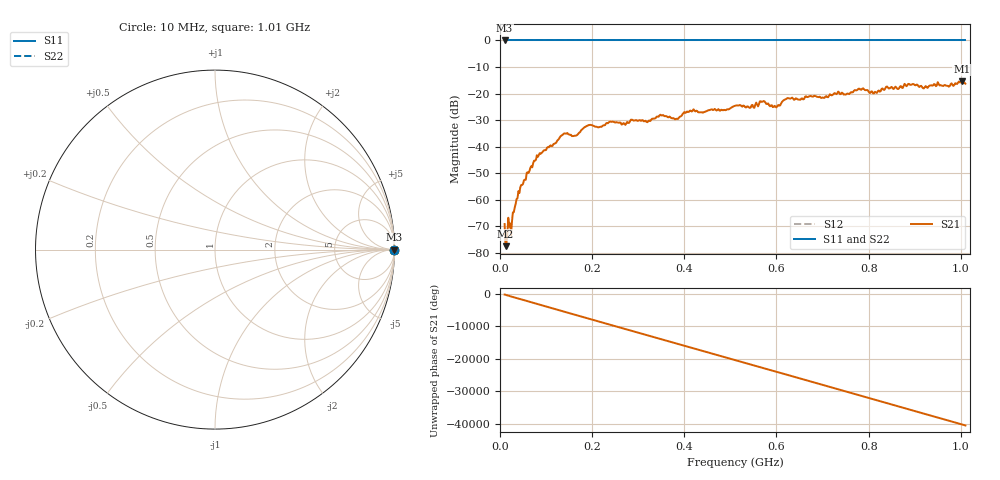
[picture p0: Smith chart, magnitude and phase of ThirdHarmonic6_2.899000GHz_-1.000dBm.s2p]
! 8/17/2025 8:00:23 AM
! C:\ANRITSUVNA\TEMP\TEMP.S2P
! CHANNEL.1
! TR.MEASUREMENT
! RAW.DATA
! RF.CORRECTION.OFF
! AVERAGING.OFF
! IF.BANDWIDTH: 5KHZ
! SWEEPTYPE:  FREQ.SWEEP(Linear)
! Reference Plane Port Info
! PORT:  PORT1  PORT2
! DISTANCE:  0  m  0  m
! TIME:  0  s  0  s
! PHASE.OFFSET:  0  deg.  0  deg.
! LOSS:  0  dB  0  dB
! REF.LOSS:  0  dB  0  dB
! REF.FREQ:  0  Hz  0  Hz
! Power Info
! POWER:  -20  dBm  -20  dBm
! EFF.POWER:  -20  dBm  -20  dBm
! SOURCE.ATTEN:  0  dB  0  dB
! TEST.ATTEN:  0  dB  0  dB
# GHZ S RI R 50.0
! FREQ.GHZ  S11RE  S11IM  S21RE  S21IM  S12RE  S12IM  S22RE  S22IM
!; PortSelection: Port_12
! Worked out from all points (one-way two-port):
!   501 points, 10 MHz to 1.01 GHz, reference 50 ohm
!   highest |S21| = -15.43 dB at 1.002 GHz (marker M1); lowest = -77.5 dB at 12 MHz (marker M2)
!   lowest |S11| = 0.0 dB at 10 MHz (marker M3)
!   |S11| at or under -10 dB: nowhere
!   |S22| runs from 0.0 to 0.0 dB; largest |S21 - S12| = 1.2
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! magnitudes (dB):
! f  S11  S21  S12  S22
! 10 MHz  0.0  -69.1  0.0  0.0
! 12 MHz  0.0  -77.5  0.0  0.0
! 24 MHz  0.0  -73.3  0.0  0.0
! 44 MHz  0.0  -55.3  0.0  0.0
! 82 MHz  0.0  -43.8  0.0  0.0
! 136 MHz  0.0  -35.5  0.0  0.0
! 162 MHz  0.0  -35.9  0.0  0.0
! 178 MHz  0.0  -33.5  0.0  0.0
! 344 MHz  0.0  -28.7  0.0  0.0
! 382 MHz  0.0  -29.6  0.0  0.0
! 416 MHz  0.0  -26.8  0.0  0.0
! 510 MHz  0.0  -24.6  0.0  0.0
! 548 MHz  0.0  -24.3  0.0  0.0
! 570 MHz  0.0  -23.0  0.0  0.0
! 596 MHz  0.0  -24.6  0.0  0.0
! 622 MHz  0.0  -22.0  0.0  0.0
! 678 MHz  0.0  -21.2  0.0  0.0
! 784 MHz  0.0  -18.6  0.0  0.0
! 814 MHz  0.0  -19.3  0.0  0.0
! 844 MHz  0.0  -18.1  0.0  0.0
! 1.002 GHz  0.0  -15.4  0.0  0.0
! 1.01 GHz  0.0  -16.3  0.0  0.0
